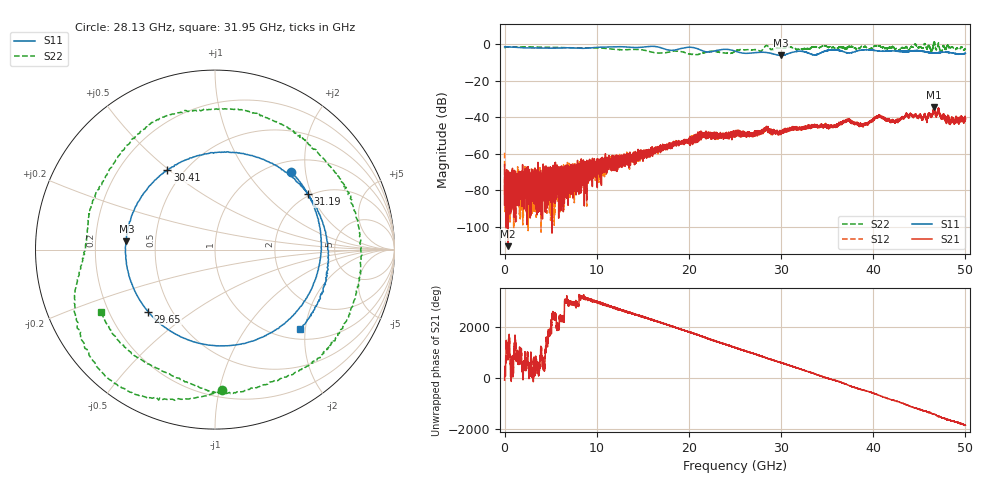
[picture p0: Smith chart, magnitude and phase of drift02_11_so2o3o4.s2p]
!Created with skrf (http://scikit-rf.org).
# Hz S RI R 50.0
!freq ReS11 ImS11 ReS21 ImS21 ReS12 ImS12 ReS22 ImS22
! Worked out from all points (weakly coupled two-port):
!   10001 points, 300 kHz to 50 GHz, reference 50 ohm
!   highest |S21| = -34.47 dB at 46.61 GHz (marker M1); lowest = -110.5 dB at 380.3 MHz (marker M2)
!   lowest |S11| = -6.1 dB at 30.01 GHz (marker M3), VSWR 2.97, Z = 16.9 + j2.08 ohm
!   |S11| at or under -10 dB: nowhere
!   |S22| runs from -5.7 to 2.1 dB; largest |S21 - S12| = 0.003
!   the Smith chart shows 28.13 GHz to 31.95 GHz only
!   S11 on the Smith chart (normalised r, x): 28.13 GHz: 1.21, +1.66; 29.65 GHz: 0.37, -0.34; 30.41 GHz: 0.41, +0.49; 31.19 GHz: 1.93, +1.88; 31.95 GHz: 1.22, -1.88
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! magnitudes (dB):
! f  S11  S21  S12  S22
! 300 kHz  -1.3  -65.7  -59.3  -2.1
! 250.3 MHz  -1.4  -74.3  -72.1  -1.4
! 380.3 MHz  -1.4  -110.5  -80.8  -1.4
! 4.82 GHz  -2.1  -78.9  -77.0  -1.6
! 8.335 GHz  -2.2  -70.2  -71.8  -1.9
! 16.67 GHz  -1.5  -58.6  -56.1  -4.7
! 21.64 GHz  -3.8  -49.8  -48.9  -4.7
! 25 GHz  -3.7  -49.6  -48.9  -3.9
! 28.13 GHz  -4.4  -47.5  -47.0  -2.1
! 29.65 GHz  -5.9  -48.4  -48.1  -2.2
! 30.01 GHz  -6.1  -49.1  -47.9  -2.1
! 30.41 GHz  -5.7  -46.7  -47.8  -1.9
! 31.19 GHz  -4.4  -46.1  -45.8  -1.8
! 31.95 GHz  -3.7  -45.7  -45.9  -2.8
! 33.34 GHz  -5.5  -44.1  -44.3  -1.5
! 37.27 GHz  -4.7  -41.1  -41.7  -1.5
! 38.9 GHz  -3.0  -45.3  -44.3  -1.4
! 40.56 GHz  -3.7  -39.3  -39.4  -1.0
! 41.67 GHz  -3.6  -41.1  -41.2  -1.9
! 46.61 GHz  -4.7  -34.5  -34.2  2.1
! 48.12 GHz  -4.4  -39.2  -40.0  -0.6
! 50 GHz  -4.9  -41.1  -39.9  -2.6
